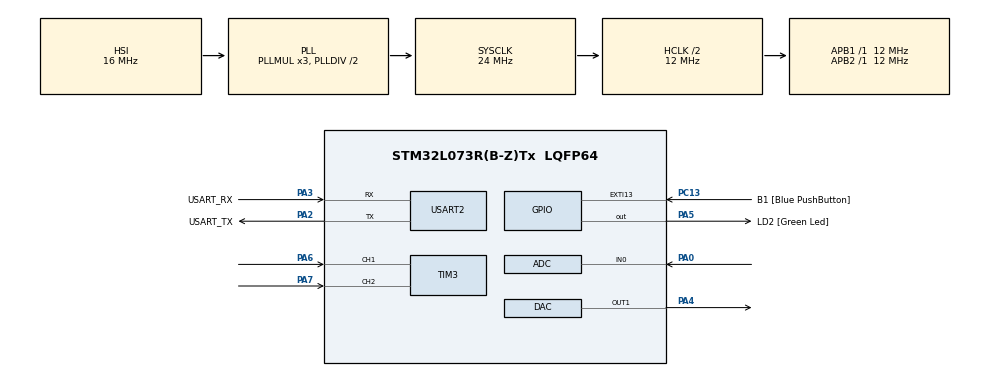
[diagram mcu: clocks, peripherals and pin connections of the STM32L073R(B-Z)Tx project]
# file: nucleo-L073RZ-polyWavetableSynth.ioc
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ADC.ClockPrescaler=ADC_CLOCK_ASYNC_DIV64
ADC.ContinuousConvMode=ENABLE
ADC.DMAContinuousRequests=ENABLE
ADC.EnableAnalogWatchDog=false
ADC.Overrun=ADC_OVR_DATA_PRESERVED
ADC.SamplingTime=ADC_SAMPLETIME_160CYCLES_5
DAC.DAC_Trigger=DAC_TRIGGER_T6_TRGO
DAC.WaveGeneration=DISABLE
Dma.ADC.1.Direction=DMA_PERIPH_TO_MEMORY
Dma.ADC.1.Instance=DMA1_Channel1
Dma.ADC.1.MemDataAlignment=DMA_MDATAALIGN_HALFWORD
Dma.ADC.1.MemInc=DMA_MINC_ENABLE
Dma.ADC.1.Mode=DMA_CIRCULAR
Dma.ADC.1.PeriphDataAlignment=DMA_PDATAALIGN_HALFWORD
Dma.ADC.1.PeriphInc=DMA_PINC_DISABLE
Dma.ADC.1.Priority=DMA_PRIORITY_LOW
Dma.DAC_CH1.0.Direction=DMA_MEMORY_TO_PERIPH
Dma.DAC_CH1.0.Instance=DMA1_Channel2
Dma.DAC_CH1.0.MemDataAlignment=DMA_MDATAALIGN_HALFWORD
Dma.DAC_CH1.0.MemInc=DMA_MINC_ENABLE
Dma.DAC_CH1.0.Mode=DMA_CIRCULAR
Dma.DAC_CH1.0.PeriphDataAlignment=DMA_PDATAALIGN_HALFWORD
Dma.DAC_CH1.0.PeriphInc=DMA_PINC_DISABLE
Dma.DAC_CH1.0.Priority=DMA_PRIORITY_HIGH
Dma.Request0=DAC_CH1
Dma.Request1=ADC
Mcu.Family=STM32L0
Mcu.Name=STM32L073R(B-Z)Tx
Mcu.Package=LQFP64
NVIC.ADC1_COMP_IRQn=true\:0\:0\:false\:false\:true\:true\:true\:true
NVIC.DMA1_Channel1_IRQn=true\:0\:0\:false\:false\:true\:false\:true\:true
NVIC.DMA1_Channel2_3_IRQn=true\:0\:0\:false\:false\:true\:false\:true\:true
NVIC.EXTI4_15_IRQn=true\:0\:0\:false\:false\:true\:true\:true\:true
NVIC.TIM3_IRQn=true\:0\:0\:false\:false\:true\:true\:true\:true
PA0.Mode=IN0
PA0.Signal=ADC_IN0
PA13.GPIO_Label=TMS
PA13.Mode=Serial_Wire
PA13.Signal=SYS_SWDIO
PA14.GPIO_Label=TCK
PA14.Mode=Serial_Wire
PA14.Signal=SYS_SWCLK
PA2.GPIO_Label=USART_TX
PA2.Mode=Asynchronous
PA2.Signal=USART2_TX
PA3.GPIO_Label=USART_RX
PA3.Mode=Asynchronous
PA3.Signal=USART2_RX
PA4.Signal=COMP_DAC1_group
PA5.GPIO_Label=LD2 [Green Led]
PA5.Signal=GPIO_Output
PA6.Signal=S_TIM3_CH1
PA7.Signal=S_TIM3_CH2
PC13.GPIO_Label=B1 [Blue PushButton]
PC13.GPIO_ModeDefaultEXTI=GPIO_MODE_IT_FALLING
PC13.Signal=GPXTI13
PC14-OSC32_IN.Mode=LSE-External-Oscillator
PC14-OSC32_IN.Signal=RCC_OSC32_IN
PC15-OSC32_OUT.Mode=LSE-External-Oscillator
PC15-OSC32_OUT.Signal=RCC_OSC32_OUT
PH0-OSC_IN.GPIO_Label=MCO
PH0-OSC_IN.Mode=HSE-External-Clock-Source
PH0-OSC_IN.Signal=RCC_OSC_IN
ProjectManager.HeapSize=0x200
ProjectManager.StackSize=0x400
ProjectManager.TargetToolchain=STM32CubeIDE
RCC.ADCFreq_Value=16000000
RCC.AHBCLKDivider=RCC_SYSCLK_DIV2
RCC.AHBFreq_Value=12000000
RCC.APB1Freq_Value=12000000
RCC.APB1TimFreq_Value=12000000
RCC.APB2Freq_Value=12000000
RCC.APB2TimFreq_Value=12000000
RCC.HCLKFreq_Value=12000000
RCC.HSE_VALUE=8000000
RCC.HSI16_VALUE=16000000
RCC.HSI48_VALUE=48000000
RCC.HSI_VALUE=16000000
RCC.MSIClockRange=RCC_MSIRANGE_6
RCC.MSI_VALUE=4194000
RCC.SYSCLKFreq_VALUE=24000000
RCC.SYSCLKSource=RCC_SYSCLKSOURCE_PLLCLK
RCC.VCOOutputFreq_Value=48000000
SH.COMP_DAC1_group.0=DAC_OUT1,DAC_OUT1
SH.S_TIM3_CH1.0=TIM3_CH1,Encoder_Interface
SH.S_TIM3_CH2.0=TIM3_CH2,Encoder_Interface
TIM6.AutoReloadPreload=TIM_AUTORELOAD_PRELOAD_ENABLE
TIM6.Period=362
TIM6.Prescaler=0
TIM6.TIM_MasterOutputTrigger=TIM_TRGO_UPDATE
USART2.VirtualMode-Asynchronous=VM_ASYNC
VP_TIM6_VS_ClockSourceINT.Mode=Enable_Timer
board=NUCLEO-L073RZ

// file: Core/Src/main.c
/* USER CODE BEGIN Header */
/**
 ******************************************************************************
 * @file           : main.c
 * @brief          : Main program body
 ******************************************************************************
 * @attention
 *
 * Copyright (c) 2024 STMicroelectronics.
 * All rights reserved.
 *
 * This software is licensed under terms that can be found in the LICENSE file
 * in the root directory of this software component.
 * If no LICENSE file comes with this software, it is provided AS-IS.
 *
 ******************************************************************************
 */
/* USER CODE END Header */
#include "main.h"

/* USER CODE BEGIN Includes */
#include <stdio.h>
#include <string.h>
#include <math.h>

#include "wavetable.h" // holds a wave table: uint16_t flash_table, stored in flash
/* USER CODE END Includes */

/* USER CODE BEGIN PD */

// Note: Max RAM: 20KB, Max flash: 192KB
#define DAC_BUFFER_SIZE 512 // size in samples of the DMA DAC buffer (two halves)
#define SINE_TABLE_SIZE 8192 // size in samples of the sine wave table (1 period)
#define SINE_TABLE_AMPLITUDE 0.8 // amplitude of the precomputed sine wave. max = 1
#define DAC_MAX_VALUE 4095
#define UART_BUFFER_SIZE 100
#define USER_BUTTON_STEPS 1000 // number of times USER button is pressed until button_counter reset

/* USER CODE END PD */

ADC_HandleTypeDef hadc;
DMA_HandleTypeDef hdma_adc;

DAC_HandleTypeDef hdac;
DMA_HandleTypeDef hdma_dac_ch1;

TIM_HandleTypeDef htim3;
TIM_HandleTypeDef htim6;

UART_HandleTypeDef huart2;

/* USER CODE BEGIN PV */

uint16_t button_counter = 0; // cyclic counter for user button edges
uint8_t flag_first_DAC_half_buffer = 0; // flags for the DAC half buffers
uint8_t flag_second_DAC_half_buffer = 0;

uint16_t sine_wave_table[SINE_TABLE_SIZE];
uint16_t dac_dma_buffer[DAC_BUFFER_SIZE];
uint8_t uart_buf[UART_BUFFER_SIZE];

/* USER CODE END PV */

void SystemClock_Config(void);
static void MX_GPIO_Init(void);
static void MX_DMA_Init(void);
static void MX_USART2_UART_Init(void);
static void MX_DAC_Init(void);
static void MX_TIM6_Init(void);
static void MX_ADC_Init(void);
static void MX_TIM3_Init(void);

int main(void)
{

  /* MCU Configuration--------------------------------------------------------*/

  /* Reset of all peripherals, Initializes the Flash interface and the Systick. */
  HAL_Init();

  /* Configure the system clock */
  SystemClock_Config();

  /* Initialize all configured peripherals */
  MX_GPIO_Init();
  MX_DMA_Init();
  MX_USART2_UART_Init();
  MX_DAC_Init();
  MX_TIM6_Init();
  MX_ADC_Init();
  MX_TIM3_Init();
  /* USER CODE BEGIN 2 */

	// Initial message
	strcpy((char*) uart_buf,
			"The peripherals have been configured successfully.\r\n");
	HAL_UART_Transmit(&huart2, uart_buf, strlen((char*) uart_buf),
	HAL_MAX_DELAY);

	// Sine wave generation and storage in memory
	for (int n = 0; n < SINE_TABLE_SIZE; n++) { // generates a 12-bit sine wave, 1 period
		double sinn = SINE_TABLE_AMPLITUDE * sin((2 * M_PI * n) / SINE_TABLE_SIZE);
		sine_wave_table[n] = (uint16_t) (((DAC_MAX_VALUE-1)/2) * sinn + ((DAC_MAX_VALUE-1)/2)); // adapt to DAC range
	}
	strcpy((char*) uart_buf,
			"A sinusoidal wave has been stored in memory.\r\n");
	HAL_UART_Transmit(&huart2, uart_buf, strlen((char*) uart_buf),
	HAL_MAX_DELAY);

	// Timer 3 start (for encoder)
	HAL_TIM_Encoder_Start_IT(&htim3, TIM_CHANNEL_ALL);

	// Timer 6 start (for DAC)
	HAL_TIM_Base_Start(&htim6); // starts timer 6
	//HAL_TIM_Base_Start_IT(&htim6) // with interrupts

	// DAC DMA start
	//HAL_DAC_Start(&hdac, DAC_CHANNEL_1); // start DAC
	HAL_DAC_Start_DMA(&hdac, DAC_CHANNEL_1, (uint32_t*) dac_dma_buffer,
	DAC_BUFFER_SIZE, DAC_ALIGN_12B_R);

	// ADC DMA start
	uint32_t value_adc; // buffer for the DMA ADC samples
	HAL_ADCEx_Calibration_Start(&hadc, ADC_SINGLE_ENDED);
	HAL_ADC_Start_DMA(&hadc, &value_adc, 1);

  /* USER CODE END 2 */

  /* Infinite loop */
  /* USER CODE BEGIN WHILE */

	uint16_t sine1 = 0; // sinusoidals one sample buffer
	uint16_t sine2 = 0;
	uint16_t n_0_sine1 = 0; // initial phase offset of the sine wave table per half buffer
	uint16_t n_0_sine2 = 0;
	uint16_t sine1_freq = 0; // frequency scalers for both tones
	uint16_t sine2_freq = 0;

	while (1) {

		sine1_freq = (uint16_t)(value_adc >> 3); // sample ADC to obtain sine wave 1  frequency
		sine2_freq = TIM3->CNT; // sample rotary encoder counter to obtain sine wave 2  frequency

		if (flag_first_DAC_half_buffer == 1) { // first half buffer transfer complete
			flag_first_DAC_half_buffer = 0; // resets flag

			for (int n = 0; n < DAC_BUFFER_SIZE / 2; n++) { // update first half buffer samples
				//dac_dma_buffer[n] = (uint16_t) (dac_dma_buffer[n] * 0.96); // amplitude decay
				sine1 = sine_wave_table[(sine1_freq * n + n_0_sine1) % SINE_TABLE_SIZE];
				sine2 = sine_wave_table[(sine2_freq * n + n_0_sine2) % SINE_TABLE_SIZE];
				dac_dma_buffer[n] = (sine1 + sine2) >> 1; // mix both sines & scale
			}
			n_0_sine1 = (sine1_freq * (DAC_BUFFER_SIZE / 2) + n_0_sine1) % SINE_TABLE_SIZE; // updates next sample to read
			n_0_sine2 = (sine2_freq * (DAC_BUFFER_SIZE / 2) + n_0_sine2) % SINE_TABLE_SIZE;
		}
		if (flag_second_DAC_half_buffer == 1) { // second half buffer transfer complete
			flag_second_DAC_half_buffer = 0;  // resets flag

			for (int n = 0; n < DAC_BUFFER_SIZE / 2; n++) { // update second half buffer samples
				//dac_dma_buffer[n] = (uint16_t) (dac_dma_buffer[n] * 0.96); // amplitude decay
				sine1 = sine_wave_table[(sine1_freq * n + n_0_sine1) % SINE_TABLE_SIZE];
				sine2 = sine_wave_table[(sine2_freq * n + n_0_sine2) % SINE_TABLE_SIZE];
				dac_dma_buffer[n + DAC_BUFFER_SIZE / 2] = (sine1 + sine2) >> 1; // mix both sines & scale
			}
			n_0_sine1 = (sine1_freq * (DAC_BUFFER_SIZE / 2) + n_0_sine1) % SINE_TABLE_SIZE;
			n_0_sine2 = (sine2_freq * (DAC_BUFFER_SIZE / 2) + n_0_sine2) % SINE_TABLE_SIZE;
		}

    /* USER CODE END WHILE */

	}
}

void SystemClock_Config(void)
{
  RCC_OscInitTypeDef RCC_OscInitStruct = {0};
  RCC_ClkInitTypeDef RCC_ClkInitStruct = {0};
  RCC_PeriphCLKInitTypeDef PeriphClkInit = {0};

  /** Configure the main internal regulator output voltage
  */
  __HAL_PWR_VOLTAGESCALING_CONFIG(PWR_REGULATOR_VOLTAGE_SCALE1);

  /** Initializes the RCC Oscillators according to the specified parameters
  * in the RCC_OscInitTypeDef structure.
  */
  RCC_OscInitStruct.OscillatorType = RCC_OSCILLATORTYPE_HSI;
  RCC_OscInitStruct.HSIState = RCC_HSI_ON;
  RCC_OscInitStruct.HSICalibrationValue = RCC_HSICALIBRATION_DEFAULT;
  RCC_OscInitStruct.PLL.PLLState = RCC_PLL_ON;
  RCC_OscInitStruct.PLL.PLLSource = RCC_PLLSOURCE_HSI;
  RCC_OscInitStruct.PLL.PLLMUL = RCC_PLLMUL_3;
  RCC_OscInitStruct.PLL.PLLDIV = RCC_PLLDIV_2;
  if (HAL_RCC_OscConfig(&RCC_OscInitStruct) != HAL_OK)
  {
    Error_Handler();
  }

  /** Initializes the CPU, AHB and APB buses clocks
  */
  RCC_ClkInitStruct.ClockType = RCC_CLOCKTYPE_HCLK|RCC_CLOCKTYPE_SYSCLK
                              |RCC_CLOCKTYPE_PCLK1|RCC_CLOCKTYPE_PCLK2;
  RCC_ClkInitStruct.SYSCLKSource = RCC_SYSCLKSOURCE_PLLCLK;
  RCC_ClkInitStruct.AHBCLKDivider = RCC_SYSCLK_DIV2;
  RCC_ClkInitStruct.APB1CLKDivider = RCC_HCLK_DIV1;
  RCC_ClkInitStruct.APB2CLKDivider = RCC_HCLK_DIV1;

  if (HAL_RCC_ClockConfig(&RCC_ClkInitStruct, FLASH_LATENCY_0) != HAL_OK)
  {
    Error_Handler();
  }
  PeriphClkInit.PeriphClockSelection = RCC_PERIPHCLK_USART2;
  PeriphClkInit.Usart2ClockSelection = RCC_USART2CLKSOURCE_PCLK1;
  if (HAL_RCCEx_PeriphCLKConfig(&PeriphClkInit) != HAL_OK)
  {
    Error_Handler();
  }
}

static void MX_ADC_Init(void)
{

  ADC_ChannelConfTypeDef sConfig = {0};

  /** Configure the global features of the ADC (Clock, Resolution, Data Alignment and number of conversion)
  */
  hadc.Instance = ADC1;
  hadc.Init.OversamplingMode = DISABLE;
  hadc.Init.ClockPrescaler = ADC_CLOCK_ASYNC_DIV64;
  hadc.Init.Resolution = ADC_RESOLUTION_12B;
  hadc.Init.SamplingTime = ADC_SAMPLETIME_160CYCLES_5;
  hadc.Init.ScanConvMode = ADC_SCAN_DIRECTION_FORWARD;
  hadc.Init.DataAlign = ADC_DATAALIGN_RIGHT;
  hadc.Init.ContinuousConvMode = ENABLE;
  hadc.Init.DiscontinuousConvMode = DISABLE;
  hadc.Init.ExternalTrigConvEdge = ADC_EXTERNALTRIGCONVEDGE_NONE;
  hadc.Init.ExternalTrigConv = ADC_SOFTWARE_START;
  hadc.Init.DMAContinuousRequests = ENABLE;
  hadc.Init.EOCSelection = ADC_EOC_SINGLE_CONV;
  hadc.Init.Overrun = ADC_OVR_DATA_PRESERVED;
  hadc.Init.LowPowerAutoWait = DISABLE;
  hadc.Init.LowPowerFrequencyMode = ENABLE;
  hadc.Init.LowPowerAutoPowerOff = DISABLE;
  if (HAL_ADC_Init(&hadc) != HAL_OK)
  {
    Error_Handler();
  }

  /** Configure for the selected ADC regular channel to be converted.
  */
  sConfig.Channel = ADC_CHANNEL_0;
  sConfig.Rank = ADC_RANK_CHANNEL_NUMBER;
  if (HAL_ADC_ConfigChannel(&hadc, &sConfig) != HAL_OK)
  {
    Error_Handler();
  }

}

static void MX_DAC_Init(void)
{

  DAC_ChannelConfTypeDef sConfig = {0};

  /** DAC Initialization
  */
  hdac.Instance = DAC;
  if (HAL_DAC_Init(&hdac) != HAL_OK)
  {
    Error_Handler();
  }

  /** DAC channel OUT1 config
  */
  sConfig.DAC_Trigger = DAC_TRIGGER_T6_TRGO;
  sConfig.DAC_OutputBuffer = DAC_OUTPUTBUFFER_ENABLE;
  if (HAL_DAC_ConfigChannel(&hdac, &sConfig, DAC_CHANNEL_1) != HAL_OK)
  {
    Error_Handler();
  }

}

static void MX_TIM3_Init(void)
{

  TIM_Encoder_InitTypeDef sConfig = {0};
  TIM_MasterConfigTypeDef sMasterConfig = {0};

  htim3.Instance = TIM3;
  htim3.Init.Prescaler = 0;
  htim3.Init.CounterMode = TIM_COUNTERMODE_UP;
  htim3.Init.Period = 65535;
  htim3.Init.ClockDivision = TIM_CLOCKDIVISION_DIV1;
  htim3.Init.AutoReloadPreload = TIM_AUTORELOAD_PRELOAD_DISABLE;
  sConfig.EncoderMode = TIM_ENCODERMODE_TI1;
  sConfig.IC1Polarity = TIM_ICPOLARITY_RISING;
  sConfig.IC1Selection = TIM_ICSELECTION_DIRECTTI;
  sConfig.IC1Prescaler = TIM_ICPSC_DIV1;
  sConfig.IC1Filter = 0;
  sConfig.IC2Polarity = TIM_ICPOLARITY_RISING;
  sConfig.IC2Selection = TIM_ICSELECTION_DIRECTTI;
  sConfig.IC2Prescaler = TIM_ICPSC_DIV1;
  sConfig.IC2Filter = 0;
  if (HAL_TIM_Encoder_Init(&htim3, &sConfig) != HAL_OK)
  {
    Error_Handler();
  }
  sMasterConfig.MasterOutputTrigger = TIM_TRGO_RESET;
  sMasterConfig.MasterSlaveMode = TIM_MASTERSLAVEMODE_DISABLE;
  if (HAL_TIMEx_MasterConfigSynchronization(&htim3, &sMasterConfig) != HAL_OK)
  {
    Error_Handler();
  }
  if (HAL_TIMEx_RemapConfig(&htim3, TIM3_TI1_GPIO) != HAL_OK)
  {
    Error_Handler();
  }

}

static void MX_TIM6_Init(void)
{

  TIM_MasterConfigTypeDef sMasterConfig = {0};

  htim6.Instance = TIM6;
  htim6.Init.Prescaler = 0;
  htim6.Init.CounterMode = TIM_COUNTERMODE_UP;
  htim6.Init.Period = 362;
  htim6.Init.AutoReloadPreload = TIM_AUTORELOAD_PRELOAD_ENABLE;
  if (HAL_TIM_Base_Init(&htim6) != HAL_OK)
  {
    Error_Handler();
  }
  sMasterConfig.MasterOutputTrigger = TIM_TRGO_UPDATE;
  sMasterConfig.MasterSlaveMode = TIM_MASTERSLAVEMODE_DISABLE;
  if (HAL_TIMEx_MasterConfigSynchronization(&htim6, &sMasterConfig) != HAL_OK)
  {
    Error_Handler();
  }

}

static void MX_USART2_UART_Init(void)
{

  huart2.Instance = USART2;
  huart2.Init.BaudRate = 115200;
  huart2.Init.WordLength = UART_WORDLENGTH_8B;
  huart2.Init.StopBits = UART_STOPBITS_1;
  huart2.Init.Parity = UART_PARITY_NONE;
  huart2.Init.Mode = UART_MODE_TX_RX;
  huart2.Init.HwFlowCtl = UART_HWCONTROL_NONE;
  huart2.Init.OverSampling = UART_OVERSAMPLING_16;
  huart2.Init.OneBitSampling = UART_ONE_BIT_SAMPLE_DISABLE;
  huart2.AdvancedInit.AdvFeatureInit = UART_ADVFEATURE_NO_INIT;
  if (HAL_UART_Init(&huart2) != HAL_OK)
  {
    Error_Handler();
  }

}

static void MX_DMA_Init(void)
{

  /* DMA controller clock enable */
  __HAL_RCC_DMA1_CLK_ENABLE();

  /* DMA interrupt init */
  /* DMA1_Channel1_IRQn interrupt configuration */
  HAL_NVIC_SetPriority(DMA1_Channel1_IRQn, 0, 0);
  HAL_NVIC_EnableIRQ(DMA1_Channel1_IRQn);
  /* DMA1_Channel2_3_IRQn interrupt configuration */
  HAL_NVIC_SetPriority(DMA1_Channel2_3_IRQn, 0, 0);
  HAL_NVIC_EnableIRQ(DMA1_Channel2_3_IRQn);

}

static void MX_GPIO_Init(void)
{
  GPIO_InitTypeDef GPIO_InitStruct = {0};

  /* GPIO Ports Clock Enable */
  __HAL_RCC_GPIOC_CLK_ENABLE();
  __HAL_RCC_GPIOH_CLK_ENABLE();
  __HAL_RCC_GPIOA_CLK_ENABLE();

  /*Configure GPIO pin Output Level */
  HAL_GPIO_WritePin(LD2_GPIO_Port, LD2_Pin, GPIO_PIN_RESET);

  /*Configure GPIO pin : B1_Pin */
  GPIO_InitStruct.Pin = B1_Pin;
  GPIO_InitStruct.Mode = GPIO_MODE_IT_FALLING;
  GPIO_InitStruct.Pull = GPIO_NOPULL;
  HAL_GPIO_Init(B1_GPIO_Port, &GPIO_InitStruct);

  /*Configure GPIO pin : LD2_Pin */
  GPIO_InitStruct.Pin = LD2_Pin;
  GPIO_InitStruct.Mode = GPIO_MODE_OUTPUT_PP;
  GPIO_InitStruct.Pull = GPIO_NOPULL;
  GPIO_InitStruct.Speed = GPIO_SPEED_FREQ_LOW;
  HAL_GPIO_Init(LD2_GPIO_Port, &GPIO_InitStruct);

  /* EXTI interrupt init*/
  HAL_NVIC_SetPriority(EXTI4_15_IRQn, 0, 0);
  HAL_NVIC_EnableIRQ(EXTI4_15_IRQn);

}

/* USER CODE BEGIN 4 */

/*
 void set_TIM6_frequency(uint32_t freq){
 uint32_t pclk1 = HAL_RCC_GetPCLK1Freq(); // Get PCLK1 frequency
 __HAL_TIM_SET_PRESCALER(&htim6,0); // sets TIM6 prescaler to 0 (disabled)
 uint32_t counter_period = pclk1/freq;
 __HAL_TIM_SET_AUTORELOAD(&htim6, counter_period);
 }

 void set_tone_frequency(uint32_t freq){
 set_TIM6_frequency(freq * WAVE_TABLE_SAMPLES);
 }

 //Calls set_tone_frequency() with the frequencies of a non-tempered C scale
 void set_tone_note(uint16_t note){
 switch (note)
 {
 case 0:
 set_tone_frequency(262);
 break;
 case 1:
 set_tone_frequency(294);
 break;
 case 2:
 set_tone_frequency(330);
 break;
 case 3:
 set_tone_frequency(349);
 break;
 case 4:
 set_tone_frequency(392);
 break;
 case 5:
 set_tone_frequency(440);
 break;
 case 6:
 set_tone_frequency(494);
 break;
 case 7:
 set_tone_frequency(523);
 break;
 default:
 set_tone_frequency(440);
 }
 }
 */

void HAL_GPIO_EXTI_Callback(uint16_t GPIO_Pin) {
	HAL_GPIO_TogglePin(GPIOA, GPIO_PIN_5);
	if (GPIO_Pin == B1_Pin) {
		button_counter = (button_counter + 1) % USER_BUTTON_STEPS;
	}

}

void HAL_DAC_ConvHalfCpltCallbackCh1(DAC_HandleTypeDef *hdac) {
	flag_first_DAC_half_buffer = 1;
}

void HAL_DAC_ConvCpltCallbackCh1(DAC_HandleTypeDef *hdac) {
	flag_second_DAC_half_buffer = 1;
}

/*
void HAL_DAC_DMAUnderrunCallbackCh1(DAC_HandleTypeDef *hdac) {
	HAL_GPIO_TogglePin(GPIOA, GPIO_PIN_8);
}

void HAL_DAC_ErrorCallbackCh1(DAC_HandleTypeDef *hdac) {
	HAL_GPIO_TogglePin(GPIOA, GPIO_PIN_9);
}
*/

/* USER CODE END 4 */

void Error_Handler(void)
{
	__disable_irq();
	while (1) {
	}
}
